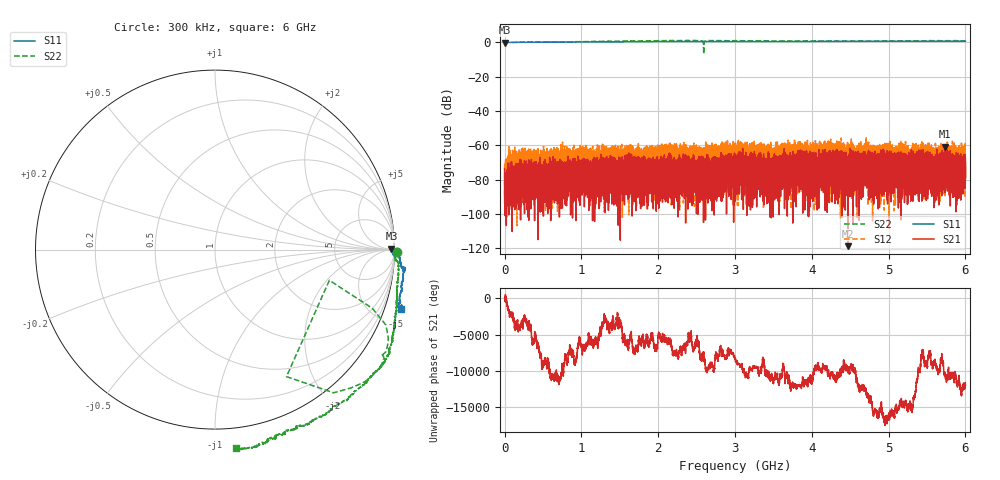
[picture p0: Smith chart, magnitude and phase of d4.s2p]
!Agilent Technologies,N5230C,SG49000117,A.08.50.07
!Agilent N5230C: A.08.50.07
!Date: Thursday, May 16, 2024 18:08:13
!Correction: S11(Full 2 Port(1,2))
!S21(Full 2 Port(1,2))
!S12(Full 2 Port(1,2))
!S22(Full 2 Port(1,2))
!S2P File: Measurements: S11, S21, S12, S22:
# Hz S  MA  R 50
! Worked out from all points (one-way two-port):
!   20001 points, 300 kHz to 6 GHz, reference 50 ohm
!   highest |S21| = -60.89 dB at 5.73 GHz (marker M1); lowest = -118.8 dB at 4.472 GHz (marker M2)
!   lowest |S11| = -0.1 dB at 600 kHz (marker M3), VSWR 116.11, Z = 5.28e+03 + j1.66e+03 ohm
!   |S11| at or under -10 dB: nowhere
!   |S22| runs from -6.8 to 1.1 dB; largest |S21 - S12| = 0.0017
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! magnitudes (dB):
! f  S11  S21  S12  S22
! 300 kHz  0.1  -73.7  -71.1  0.1
! 600 kHz  -0.1  -91.7  -78.5  -0.3
! 30.9 MHz  0.0  -85.8  -70.1  0.0
! 163.2 MHz  0.0  -73.9  -67.8  0.1
! 1 GHz  0.3  -73.0  -77.3  0.4
! 2 GHz  0.5  -79.3  -68.4  1.0
! 2.135 GHz  0.5  -70.0  -77.4  1.0
! 2.575 GHz  0.5  -84.3  -68.9  0.9
! 3 GHz  0.5  -67.8  -62.6  1.0
! 3.225 GHz  0.5  -80.0  -67.9  0.9
! 3.393 GHz  0.5  -77.8  -82.6  0.9
! 3.827 GHz  0.5  -73.7  -65.9  0.8
! 4 GHz  0.5  -67.5  -70.0  0.8
! 4.166 GHz  0.6  -72.6  -72.3  0.7
! 4.472 GHz  0.7  -118.8  -72.3  0.7
! 4.735 GHz  0.7  -70.2  -60.7  0.7
! 4.893 GHz  0.7  -79.7  -69.4  0.8
! 5 GHz  0.7  -64.3  -71.0  0.8
! 5.585 GHz  0.7  -68.8  -65.5  1.0
! 5.73 GHz  0.7  -60.9  -64.1  1.0
! 5.961 GHz  0.7  -75.5  -71.2  1.0
! 6 GHz  0.7  -78.9  -74.6  0.9
